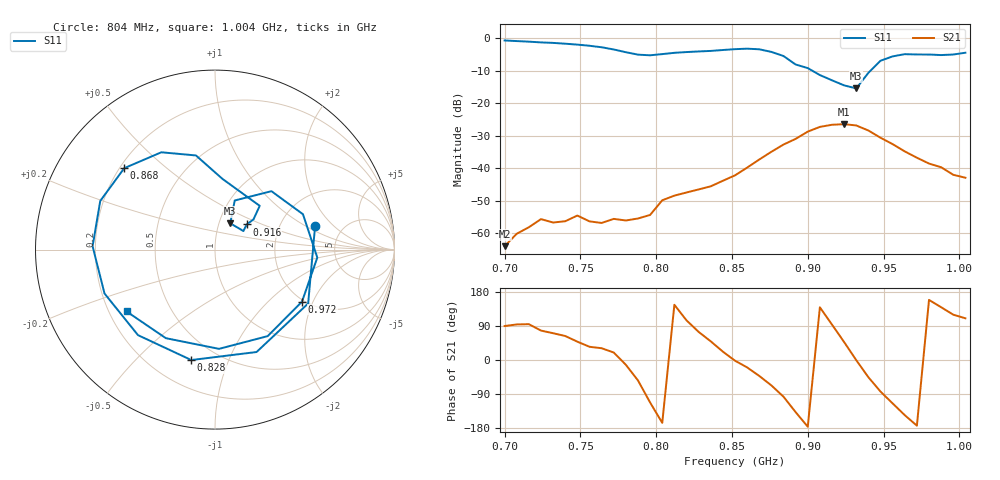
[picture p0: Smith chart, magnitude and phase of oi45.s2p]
# Hz S RI R 50
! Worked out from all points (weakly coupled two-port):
!   39 points, 700 MHz to 1.004 GHz, reference 50 ohm
!   highest |S21| = -26.44 dB at 924 MHz (marker M1); lowest = -64.0 dB at 700 MHz (marker M2)
!   lowest |S11| = -15.4 dB at 932 MHz (marker M3), VSWR 1.41, Z = 56.6 + j17.1 ohm
!   |S11| at or under -10 dB: 903.2 MHz to 941.3 MHz (38.15 MHz wide, 4.14 % of centre)
!   S12 and S22 are empty: the file has one direction only
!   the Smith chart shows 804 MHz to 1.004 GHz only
!   S11 on the Smith chart (normalised r, x): 804 MHz: 3.16, +1.23; 828 MHz: 0.36, -0.74; 868 MHz: 0.22, +0.37; 916 MHz: 1.36, +0.40; 972 MHz: 1.95, -1.66; 1.004 GHz: 0.27, -0.29
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7e8  0.7635 0.53  4.45e-06 0.000629  0 0  0 0
7.24e8  0.8292 -0.2544  0.000352 0.0016  0 0  0 0
7.4e8  0.4467 -0.6976  0.000684 0.00136  0 0  0 0
7.56e8  -0.1928 -0.7453  0.00124 0.000867  0 0  0 0
7.72e8  -0.6478 -0.1898  0.00156 0.000559  0 0  0 0
7.8e8  -0.5685 0.2278  0.00153 -0.000343  0 0  0 0
7.88e8  -0.216 0.5187  0.000986 -0.00136  0 0  0 0
7.96e8  0.2571 0.4849  -0.000719 -0.00176  0 0  0 0
8.04e8  0.5575 0.1306  -0.00311 -0.00078  0 0  0 0
8.2e8  0.2317 -0.5706  -0.00107 0.00409  0 0  0 0
8.28e8  -0.1321 -0.6153  0.00128 0.00453  0 0  0 0
8.52e8  -0.682 0.0188  0.00775 -0.000246  0 0  0 0
8.68e8  -0.5056 0.4537  0.0101 -0.0091  0 0  0 0
8.84e8  -0.1061 0.5246  -0.00276 -0.023  0 0  0 0
9.08e8  0.2143 0.1681  -0.0327 0.0284  0 0  0 0
9.16e8  0.177 0.1404  -0.00279 0.0466  0 0  0 0
9.24e8  0.1581 0.1033  0.0323 0.035  0 0  0 0
9.32e8  0.085 0.1467  0.0455 -0.000354  0 0  0 0
9.56e8  0.4902 0.197  -0.00976 -0.0213  0 0  0 0
9.72e8  0.4847 -0.2902  -0.0144 -0.00169  0 0  0 0
9.88e8  0.0225 -0.5529  -0.00783 0.00675  0 0  0 0
1.004e9  -0.493 -0.3444  -0.00245 0.0067  0 0  0 0
